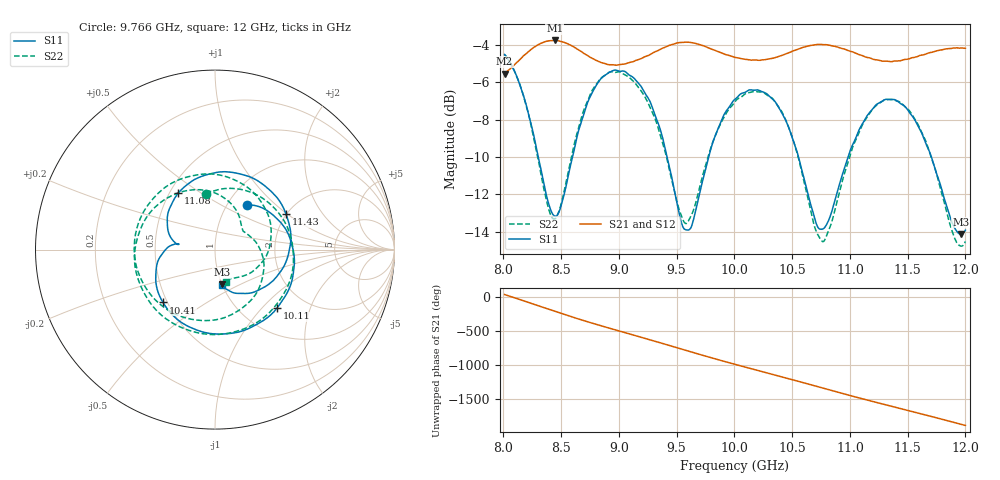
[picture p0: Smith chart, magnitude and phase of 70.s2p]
!Agilent Technologies,E8362C,MY49020356,A.09.42.23
!Agilent E8362C: A.09.42.23
!Date: Friday, November 08, 2024 19:30:49
!Correction: S11(Full 2 Port(1,2))
!S21(Full 2 Port(1,2))
!S12(Full 2 Port(1,2))
!S22(Full 2 Port(1,2))
!S2P File: Measurements: S11, S21, S12, S22:
# Hz S  RI  R 50
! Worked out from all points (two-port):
!   801 points, 8.01 GHz to 12 GHz, reference 50 ohm
!   highest |S21| = -3.76 dB at 8.444 GHz (marker M1); lowest = -5.5 dB at 8.01 GHz (marker M2)
!   |S21| within 3 dB of the highest: start of sweep to end of sweep
!   lowest |S11| = -14.1 dB at 11.96 GHz (marker M3), VSWR 1.49, Z = 49.9 - j20.1 ohm
!   |S11| at or under -10 dB: 8.302 GHz to 8.598 GHz (296.5 MHz wide, 3.51 % of centre); 9.416 GHz to 9.777 GHz (360.6 MHz wide, 3.76 % of centre); 10.56 GHz to 10.98 GHz (428.7 MHz wide, 3.98 % of centre)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
!   |S22| runs from -14.8 to -4.5 dB; largest |S21 - S12| = 0.0077
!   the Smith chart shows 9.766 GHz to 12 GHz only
!   S11 on the Smith chart (normalised r, x): 9.766 GHz: 1.23, +0.67; 10.11 GHz: 1.44, -1.22; 10.41 GHz: 0.47, -0.34; 11.08 GHz: 0.55, +0.41; 11.43 GHz: 1.99, +0.98; 12 GHz: 0.99, -0.41
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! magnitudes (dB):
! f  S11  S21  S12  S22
! 8.01 GHz  -4.5  -5.5  -5.5  -4.5
! 8.16 GHz  -6.5  -4.7  -4.7  -6.4
! 8.379 GHz  -12.2  -3.8  -3.8  -12.5
! 8.444 GHz  -13.2  -3.8  -3.8  -13.3
! 8.678 GHz  -8.1  -4.4  -4.4  -7.8
! 8.973 GHz  -5.3  -5.1  -5.1  -5.5
! 9.177 GHz  -6.1  -4.8  -4.8  -6.3
! 9.342 GHz  -8.2  -4.3  -4.3  -8.5
! 9.571 GHz  -13.9  -3.9  -3.8  -13.5
! 9.636 GHz  -13.6  -3.9  -3.9  -13.0
! 9.766 GHz  -10.3  -4.1  -4.1  -10.1
! 10.01 GHz  -6.9  -4.7  -4.7  -7.0
! 10.11 GHz  -6.5  -4.8  -4.8  -6.6
! 10.41 GHz  -7.7  -4.6  -4.6  -7.6
! 10.67 GHz  -12.8  -4.0  -4.0  -13.2
! 10.79 GHz  -13.7  -4.0  -4.0  -14.4
! 11.08 GHz  -8.5  -4.5  -4.5  -8.6
! 11.34 GHz  -6.9  -4.9  -4.9  -6.9
! 11.43 GHz  -7.1  -4.9  -4.8  -7.0
! 11.65 GHz  -9.2  -4.5  -4.5  -9.1
! 11.96 GHz  -14.1  -4.2  -4.2  -14.8
! 12 GHz  -13.9  -4.2  -4.2  -14.5
